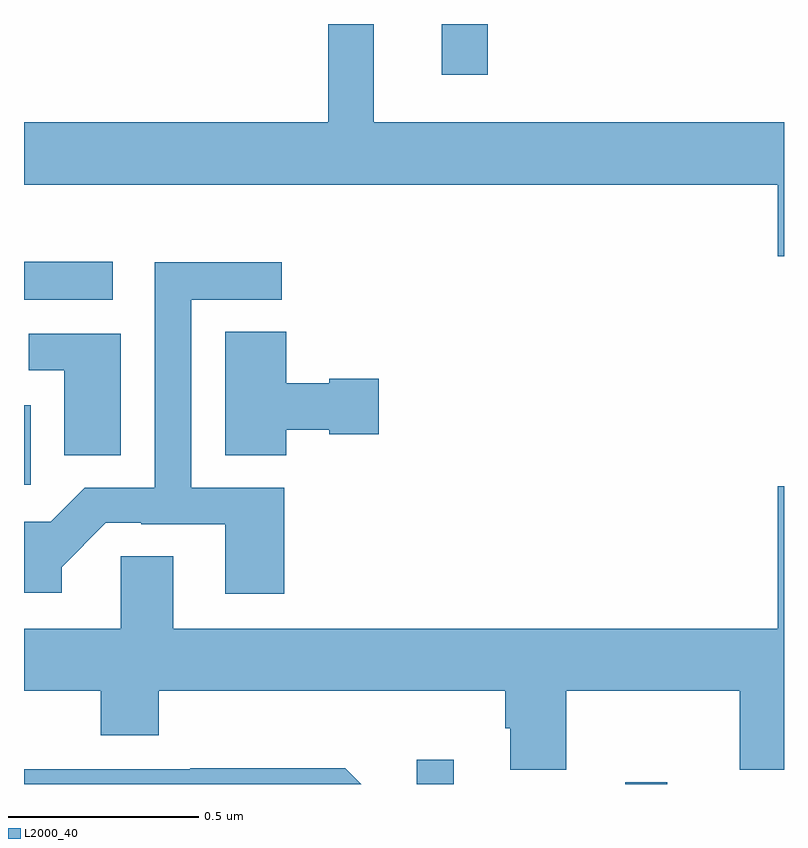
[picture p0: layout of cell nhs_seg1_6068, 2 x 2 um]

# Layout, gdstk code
import gdstk
lib = gdstk.Library(unit=1e-6, precision=1e-09)
def R(c, l, rs):  # rectangles x0, y0, x1, y1
    for r in rs: c.add(gdstk.rectangle(r[:2], r[2:], *l))
def P(c, l, *ps):  # polygons
    for p in ps: c.add(gdstk.Polygon(p, *l))
L2000_40 = (2000, 40)

nhs_seg1_6068 = lib.new_cell('nhs_seg1_6068')
R(nhs_seg1_6068, L2000_40, [(188.034,506.199,188.131,506.263), (188.582,506.199,188.693,506.203), (187,506.987,187.018,507.196), (187,507.473,187.234,507.574), (188.099,508.065,188.221,508.199)])
P(nhs_seg1_6068, L2000_40, [(189,507.94),(187.921,507.94),(187.921,508.199),(187.8,508.199),(187.8,507.94),(187,507.94),(187,507.776),(188.984,507.776),(188.984,507.588),(189,507.588)],
  [(187.685,506.979),(187.44,506.979),(187.44,507.474),(187.678,507.474),(187.678,507.572),(187.344,507.572),(187.344,506.979),(187.16,506.979),(187.07,506.889),(187,506.889),(187,506.702),(187.099,506.702),(187.099,506.77),(187.215,506.886),(187.309,506.886),(187.309,506.883),(187.529,506.883),(187.529,506.7),(187.685,506.7)],
  [(187.69,507.131),(187.803,507.131),(187.803,507.119),(187.933,507.119),(187.933,507.266),(187.803,507.266),(187.803,507.253),(187.69,507.253),(187.69,507.389),(187.529,507.389),(187.529,507.064),(187.69,507.064)],
  [(187.255,507.384),(187.013,507.384),(187.013,507.288),(187.106,507.288),(187.106,507.064),(187.255,507.064)],
  [(188.427,506.444),(188.884,506.444),(188.884,506.236),(189,506.236),(189,506.983),(188.984,506.983),(188.984,506.608),(187.393,506.608),(187.393,506.798),(187.254,506.798),(187.254,506.608),(187,506.608),(187,506.444),(187.202,506.444),(187.202,506.327),(187.355,506.327),(187.355,506.444),(188.267,506.444),(188.267,506.346),(188.279,506.346),(188.279,506.236),(188.427,506.236)],
  [(187.846,506.24),(187.438,506.24),(187.438,506.238),(187,506.238),(187,506.199),(187.887,506.199)])

lib.write_gds('nhs_seg1_6068.gds')
